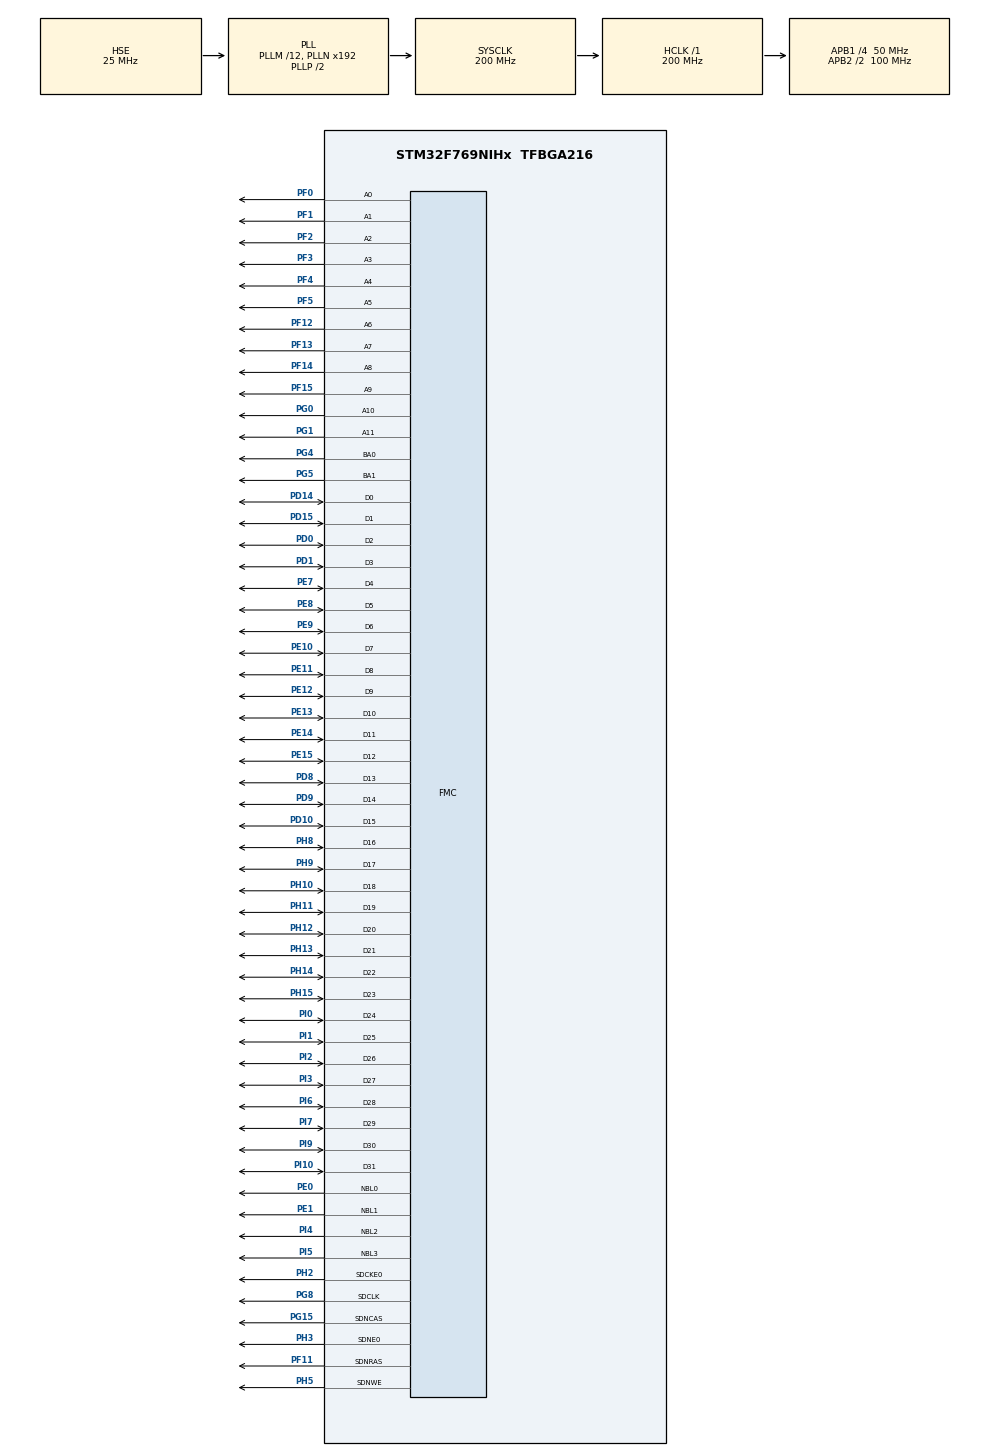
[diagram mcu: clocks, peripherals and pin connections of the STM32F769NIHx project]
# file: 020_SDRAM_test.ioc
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FMC.CASLatency1=FMC_SDRAM_CAS_LATENCY_2
FMC.ExitSelfRefreshDelay1=7
FMC.LoadToActiveDelay1=2
FMC.RCDDelay1=2
FMC.RPDelay1=2
FMC.ReadBurst1=FMC_SDRAM_RBURST_ENABLE
FMC.RowCycleDelay1=6
FMC.SDClockPeriod1=FMC_SDRAM_CLOCK_PERIOD_2
FMC.SelfRefreshTime1=4
FMC.WriteRecoveryTime1=2
Mcu.Family=STM32F7
Mcu.Name=STM32F769NIHx
Mcu.Package=TFBGA216
NVIC.PriorityGroup=NVIC_PRIORITYGROUP_4
PA13.Mode=Trace_Asynchronous_SW
PA13.Signal=SYS_JTMS-SWDIO
PA14.Mode=Trace_Asynchronous_SW
PA14.Signal=SYS_JTCK-SWCLK
PB3.Mode=Trace_Asynchronous_SW
PB3.Signal=SYS_JTDO-SWO
PD0.Signal=FMC_D2_DA2
PD1.Signal=FMC_D3_DA3
PD10.Signal=FMC_D15_DA15
PD14.Signal=FMC_D0_DA0
PD15.Signal=FMC_D1_DA1
PD8.Signal=FMC_D13_DA13
PD9.Signal=FMC_D14_DA14
PE0.Signal=FMC_NBL0
PE1.Signal=FMC_NBL1
PE10.Signal=FMC_D7_DA7
PE11.Signal=FMC_D8_DA8
PE12.Signal=FMC_D9_DA9
PE13.Signal=FMC_D10_DA10
PE14.Signal=FMC_D11_DA11
PE15.Signal=FMC_D12_DA12
PE7.Signal=FMC_D4_DA4
PE8.Signal=FMC_D5_DA5
PE9.Signal=FMC_D6_DA6
PF0.Signal=FMC_A0
PF1.Signal=FMC_A1
PF11.Signal=FMC_SDNRAS
PF12.Signal=FMC_A6
PF13.Signal=FMC_A7
PF14.Signal=FMC_A8
PF15.Signal=FMC_A9
PF2.Signal=FMC_A2
PF3.Signal=FMC_A3
PF4.Signal=FMC_A4
PF5.Signal=FMC_A5
PG0.Signal=FMC_A10
PG1.Signal=FMC_A11
PG15.Signal=FMC_SDNCAS
PG4.Signal=FMC_A14_BA0
PG5.Signal=FMC_A15_BA1
PG8.Signal=FMC_SDCLK
PH0/OSC_IN.Mode=HSE-External-Oscillator
PH0/OSC_IN.Signal=RCC_OSC_IN
PH1/OSC_OUT.Mode=HSE-External-Oscillator
PH1/OSC_OUT.Signal=RCC_OSC_OUT
PH10.Signal=FMC_D18
PH11.Signal=FMC_D19
PH12.Signal=FMC_D20
PH13.Signal=FMC_D21
PH14.Signal=FMC_D22
PH15.Signal=FMC_D23
PH2.Mode=SdramChipSelect1_1
PH2.Signal=FMC_SDCKE0
PH3.Mode=SdramChipSelect1_1
PH3.Signal=FMC_SDNE0
PH5.Signal=FMC_SDNWE
PH8.Signal=FMC_D16
PH9.Signal=FMC_D17
PI0.Signal=FMC_D24
PI1.Signal=FMC_D25
PI10.Signal=FMC_D31
PI2.Signal=FMC_D26
PI3.Signal=FMC_D27
PI4.Signal=FMC_NBL2
PI5.Signal=FMC_NBL3
PI6.Signal=FMC_D28
PI7.Signal=FMC_D29
PI9.Signal=FMC_D30
ProjectManager.HeapSize=0x200
ProjectManager.StackSize=0x400
ProjectManager.TargetToolchain=STM32CubeIDE
RCC.AHBFreq_Value=200000000
RCC.APB1CLKDivider=RCC_HCLK_DIV4
RCC.APB1Freq_Value=50000000
RCC.APB1TimFreq_Value=100000000
RCC.APB2CLKDivider=RCC_HCLK_DIV2
RCC.APB2Freq_Value=100000000
RCC.APB2TimFreq_Value=200000000
RCC.CortexFreq_Value=200000000
RCC.HCLKFreq_Value=200000000
RCC.HSE_VALUE=25000000
RCC.HSI_VALUE=16000000
RCC.LSE_VALUE=32768
RCC.PLLM=12
RCC.PLLSourceVirtual=RCC_PLLSOURCE_HSE
RCC.SYSCLKFreq_VALUE=200000000
RCC.SYSCLKSource=RCC_SYSCLKSOURCE_PLLCLK
RCC.USBFreq_Value=200000000
RCC.VCOOutputFreq_Value=400000000
SH.FMC_A0.0=FMC_A0,12b-sda1
SH.FMC_A1.0=FMC_A1,12b-sda1
SH.FMC_A10.0=FMC_A10,12b-sda1
SH.FMC_A11.0=FMC_A11,12b-sda1
SH.FMC_A14_BA0.0=FMC_BA0,FourSdramBanks1
SH.FMC_A15_BA1.0=FMC_BA1,FourSdramBanks1
SH.FMC_A2.0=FMC_A2,12b-sda1
SH.FMC_A3.0=FMC_A3,12b-sda1
SH.FMC_A4.0=FMC_A4,12b-sda1
SH.FMC_A5.0=FMC_A5,12b-sda1
SH.FMC_A6.0=FMC_A6,12b-sda1
SH.FMC_A7.0=FMC_A7,12b-sda1
SH.FMC_A8.0=FMC_A8,12b-sda1
SH.FMC_A9.0=FMC_A9,12b-sda1
SH.FMC_D0_DA0.0=FMC_D0,sd-32b-d1
SH.FMC_D10_DA10.0=FMC_D10,sd-32b-d1
SH.FMC_D11_DA11.0=FMC_D11,sd-32b-d1
SH.FMC_D12_DA12.0=FMC_D12,sd-32b-d1
SH.FMC_D13_DA13.0=FMC_D13,sd-32b-d1
SH.FMC_D14_DA14.0=FMC_D14,sd-32b-d1
SH.FMC_D15_DA15.0=FMC_D15,sd-32b-d1
SH.FMC_D16.0=FMC_D16,sd-32b-d1
SH.FMC_D17.0=FMC_D17,sd-32b-d1
SH.FMC_D18.0=FMC_D18,sd-32b-d1
SH.FMC_D19.0=FMC_D19,sd-32b-d1
SH.FMC_D1_DA1.0=FMC_D1,sd-32b-d1
SH.FMC_D20.0=FMC_D20,sd-32b-d1
SH.FMC_D21.0=FMC_D21,sd-32b-d1
SH.FMC_D22.0=FMC_D22,sd-32b-d1
SH.FMC_D23.0=FMC_D23,sd-32b-d1
SH.FMC_D24.0=FMC_D24,sd-32b-d1
SH.FMC_D25.0=FMC_D25,sd-32b-d1
SH.FMC_D26.0=FMC_D26,sd-32b-d1
SH.FMC_D27.0=FMC_D27,sd-32b-d1
SH.FMC_D28.0=FMC_D28,sd-32b-d1
SH.FMC_D29.0=FMC_D29,sd-32b-d1
SH.FMC_D2_DA2.0=FMC_D2,sd-32b-d1
SH.FMC_D30.0=FMC_D30,sd-32b-d1
SH.FMC_D31.0=FMC_D31,sd-32b-d1
SH.FMC_D3_DA3.0=FMC_D3,sd-32b-d1
SH.FMC_D4_DA4.0=FMC_D4,sd-32b-d1
SH.FMC_D5_DA5.0=FMC_D5,sd-32b-d1
SH.FMC_D6_DA6.0=FMC_D6,sd-32b-d1
SH.FMC_D7_DA7.0=FMC_D7,sd-32b-d1
SH.FMC_D8_DA8.0=FMC_D8,sd-32b-d1
SH.FMC_D9_DA9.0=FMC_D9,sd-32b-d1
SH.FMC_NBL0.0=FMC_NBL0,Sd4ByteEnable1
SH.FMC_NBL1.0=FMC_NBL1,Sd4ByteEnable1
SH.FMC_NBL2.0=FMC_NBL2,Sd4ByteEnable1
SH.FMC_NBL3.0=FMC_NBL3,Sd4ByteEnable1
SH.FMC_SDCLK.0=FMC_SDCLK,12b-sda1
SH.FMC_SDNCAS.0=FMC_SDNCAS,12b-sda1
SH.FMC_SDNRAS.0=FMC_SDNRAS,12b-sda1
SH.FMC_SDNWE.0=FMC_SDNWE,12b-sda1
board=custom

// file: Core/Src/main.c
/* USER CODE BEGIN Header */
/**
 ******************************************************************************
 * @file           : main.c
 * @brief          : Main program body
 ******************************************************************************
 * @attention
 *
 * Copyright (c) 2023 STMicroelectronics.
 * All rights reserved.
 *
 * This software is licensed under terms that can be found in the LICENSE file
 * in the root directory of this software component.
 * If no LICENSE file comes with this software, it is provided AS-IS.
 *
 ******************************************************************************
 */
/* USER CODE END Header */
#include "main.h"

/* USER CODE BEGIN Includes */
#include "stdlib.h"
/* USER CODE END Includes */

SDRAM_HandleTypeDef hsdram1;

void SystemClock_Config(void);
static void MX_GPIO_Init(void);
static void MX_FMC_Init(void);

int main(void) {

	/* MCU Configuration--------------------------------------------------------*/

	/* Reset of all peripherals, Initializes the Flash interface and the Systick. */
	HAL_Init();

	/* Configure the system clock */
	SystemClock_Config();

	/* Initialize all configured peripherals */
	MX_GPIO_Init();
	MX_FMC_Init();

	/* Infinite loop */
	/* USER CODE BEGIN WHILE */

// 128Mb, 16MB, 8M half Word, 4M Word
#define SDRAM_BANK_ADDR_START 	((uint32_t)0xC0000000)
#define SDRAM_BANK_ADDR_STOP 	((uint32_t)0xC0ffffff)
#define SDRAM_BANK_COUNT		(0x10000)

	struct Test_ERR {
		uint32_t addr_err[0x100];
		uint8_t ram_err[0x100];
		uint8_t sdram_err[0x100];
	};

	volatile uint32_t test_ok = 0; //zmienna w której będzie wynik testu
	struct Test_ERR test_err;

	// uzupełnienie randomem małego bloku na stosie
	uint8_t tab[0x100];
	srand(HAL_GetTick());
	for (int i = 0; i < 0x100; i++) {
		tab[i] = rand() % 0x100;
	}

	// zapełnienie całej sdram powtarzanymi blokami
	for (int j = 0; j < SDRAM_BANK_COUNT; j++)
		for (int i = 0; i < 0x100; i++) {
			*(__IO uint8_t*) (SDRAM_BANK_ADDR_START + (j * 0x100) + (1 * i)) = tab[i];
		}

	// porównanie pamięci
	for (int j = 0; j < SDRAM_BANK_COUNT; j++)
		for (int i = 0; i < 0x100; i++) {
			if ((*(__IO uint8_t*) (SDRAM_BANK_ADDR_START + (j * 0x100) + (1 * i))) != tab[i]) {
				test_err.addr_err[test_ok] = (SDRAM_BANK_ADDR_START + (j * 0x100) + (1 * i));
				test_err.sdram_err[test_ok] = *(__IO uint8_t*) (SDRAM_BANK_ADDR_START + (j * 0x100) + (1 * i));
				test_err.ram_err[test_ok] = tab[i];
				test_ok++;
			}
		}

	while (1) {
		/* USER CODE END WHILE */

	}
}

void SystemClock_Config(void) {
	RCC_OscInitTypeDef RCC_OscInitStruct = { 0 };
	RCC_ClkInitTypeDef RCC_ClkInitStruct = { 0 };

	/** Configure the main internal regulator output voltage
	 */
	__HAL_RCC_PWR_CLK_ENABLE();
	__HAL_PWR_VOLTAGESCALING_CONFIG(PWR_REGULATOR_VOLTAGE_SCALE1);

	/** Initializes the RCC Oscillators according to the specified parameters
	 * in the RCC_OscInitTypeDef structure.
	 */
	RCC_OscInitStruct.OscillatorType = RCC_OSCILLATORTYPE_HSE;
	RCC_OscInitStruct.HSEState = RCC_HSE_ON;
	RCC_OscInitStruct.PLL.PLLState = RCC_PLL_ON;
	RCC_OscInitStruct.PLL.PLLSource = RCC_PLLSOURCE_HSE;
	RCC_OscInitStruct.PLL.PLLM = 12;
	RCC_OscInitStruct.PLL.PLLN = 192;
	RCC_OscInitStruct.PLL.PLLP = RCC_PLLP_DIV2;
	RCC_OscInitStruct.PLL.PLLQ = 2;
	RCC_OscInitStruct.PLL.PLLR = 2;
	if (HAL_RCC_OscConfig(&RCC_OscInitStruct) != HAL_OK) {
		Error_Handler();
	}

	/** Activate the Over-Drive mode
	 */
	if (HAL_PWREx_EnableOverDrive() != HAL_OK) {
		Error_Handler();
	}

	/** Initializes the CPU, AHB and APB buses clocks
	 */
	RCC_ClkInitStruct.ClockType = RCC_CLOCKTYPE_HCLK | RCC_CLOCKTYPE_SYSCLK | RCC_CLOCKTYPE_PCLK1 | RCC_CLOCKTYPE_PCLK2;
	RCC_ClkInitStruct.SYSCLKSource = RCC_SYSCLKSOURCE_PLLCLK;
	RCC_ClkInitStruct.AHBCLKDivider = RCC_SYSCLK_DIV1;
	RCC_ClkInitStruct.APB1CLKDivider = RCC_HCLK_DIV4;
	RCC_ClkInitStruct.APB2CLKDivider = RCC_HCLK_DIV2;

	if (HAL_RCC_ClockConfig(&RCC_ClkInitStruct, FLASH_LATENCY_6) != HAL_OK) {
		Error_Handler();
	}
}

/* FMC initialization function */
static void MX_FMC_Init(void) {

	FMC_SDRAM_TimingTypeDef SdramTiming = { 0 };

	/** Perform the SDRAM1 memory initialization sequence
	 */
	hsdram1.Instance = FMC_SDRAM_DEVICE;
	/* hsdram1.Init */
	hsdram1.Init.SDBank = FMC_SDRAM_BANK1;
	hsdram1.Init.ColumnBitsNumber = FMC_SDRAM_COLUMN_BITS_NUM_8;
	hsdram1.Init.RowBitsNumber = FMC_SDRAM_ROW_BITS_NUM_12;
	hsdram1.Init.MemoryDataWidth = FMC_SDRAM_MEM_BUS_WIDTH_32;
	hsdram1.Init.InternalBankNumber = FMC_SDRAM_INTERN_BANKS_NUM_4;
	hsdram1.Init.CASLatency = FMC_SDRAM_CAS_LATENCY_2;
	hsdram1.Init.WriteProtection = FMC_SDRAM_WRITE_PROTECTION_DISABLE;
	hsdram1.Init.SDClockPeriod = FMC_SDRAM_CLOCK_PERIOD_2;
	hsdram1.Init.ReadBurst = FMC_SDRAM_RBURST_ENABLE;
	hsdram1.Init.ReadPipeDelay = FMC_SDRAM_RPIPE_DELAY_0;
	/* SdramTiming */
	// SDRAM freq 100MHz = 10ns
	SdramTiming.LoadToActiveDelay = 2; //tMRD = 2CLK
	SdramTiming.ExitSelfRefreshDelay = 7; //tXSR = 67ns
	SdramTiming.SelfRefreshTime = 5; //tRAS = 42ns
	SdramTiming.RowCycleDelay = 6; //tRC = 60ns
	SdramTiming.WriteRecoveryTime = 2; //tWR = (1CLK+ 7ns) = 17ns
	SdramTiming.RPDelay = 2; //tRP = 18ns
	SdramTiming.RCDDelay = 2; //tRCD = 18ns

	if (HAL_SDRAM_Init(&hsdram1, &SdramTiming) != HAL_OK) {
		Error_Handler();
	}

	/* USER CODE BEGIN FMC_Init 2 */
// SDRAM freq 100MHz = 10ns
//	SdramTiming.LoadToActiveDelay = 2; //tMRD = 2CLK
//	SdramTiming.ExitSelfRefreshDelay = 7; //tXSR = 67ns
//	SdramTiming.SelfRefreshTime = 5; //tRAS = 42ns
//	SdramTiming.RowCycleDelay = 6; //tRC = 60ns
//	SdramTiming.WriteRecoveryTime = 2; //tWR = (1CLK+ 7ns) = 17ns
//	SdramTiming.RPDelay = 2; //tRP = 18ns
//	SdramTiming.RCDDelay = 2; //tRCD = 18ns
#define SDRAM_MODEREG_BURST_LENGTH_1            	((uint16_t)0x0000)
#define SDRAM_MODEREG_BURST_LENGTH_2            	((uint16_t)0x0001)
#define SDRAM_MODEREG_BURST_LENGTH_4            	((uint16_t)0x0002)
#define SDRAM_MODEREG_BURST_LENGTH_8            	((uint16_t)0x0004)
#define SDRAM_MODEREG_BURST_TYPE_SEQUENTIAL     	((uint16_t)0x0000)
#define SDRAM_MODEREG_BURST_TYPE_INTERLEAVED    	((uint16_t)0x0008)
#define SDRAM_MODEREG_CAS_LATENCY_2             	((uint16_t)0x0020)
#define SDRAM_MODEREG_CAS_LATENCY_3             	((uint16_t)0x0030)
#define SDRAM_MODEREG_OPERATING_MODE_STANDARD   	((uint16_t)0x0000)
#define SDRAM_MODEREG_WRITEBURST_MODE_PROGRAMMED	((uint16_t)0x0000)
#define SDRAM_MODEREG_WRITEBURST_MODE_SINGLE    	((uint16_t)0x0200)
	// SDRAM Initialization Sequence
	FMC_SDRAM_CommandTypeDef cmd = { 0 };
	cmd.CommandTarget = FMC_SDRAM_CMD_TARGET_BANK1;

	cmd.CommandMode = FMC_SDRAM_CMD_CLK_ENABLE;
	HAL_SDRAM_SendCommand(&hsdram1, &cmd, 0x100);
	HAL_Delay(1);

	cmd.CommandMode = FMC_SDRAM_CMD_PALL;
	HAL_SDRAM_SendCommand(&hsdram1, &cmd, 0x100);

	cmd.CommandMode = FMC_SDRAM_CMD_AUTOREFRESH_MODE;
	cmd.AutoRefreshNumber = 8;
	HAL_SDRAM_SendCommand(&hsdram1, &cmd, 0x100);

	cmd.CommandMode = FMC_SDRAM_CMD_LOAD_MODE;
	cmd.ModeRegisterDefinition = //
			SDRAM_MODEREG_BURST_LENGTH_1 |
			SDRAM_MODEREG_BURST_TYPE_SEQUENTIAL |
			SDRAM_MODEREG_CAS_LATENCY_2 |
			SDRAM_MODEREG_OPERATING_MODE_STANDARD |
			SDRAM_MODEREG_WRITEBURST_MODE_SINGLE;
	HAL_SDRAM_SendCommand(&hsdram1, &cmd, 0x100);

	HAL_SDRAM_ProgramRefreshRate(&hsdram1, 1543);
	/* USER CODE END FMC_Init 2 */
}

static void MX_GPIO_Init(void) {

	/* GPIO Ports Clock Enable */
	__HAL_RCC_GPIOE_CLK_ENABLE();
	__HAL_RCC_GPIOB_CLK_ENABLE();
	__HAL_RCC_GPIOA_CLK_ENABLE();
	__HAL_RCC_GPIOG_CLK_ENABLE();
	__HAL_RCC_GPIOD_CLK_ENABLE();
	__HAL_RCC_GPIOI_CLK_ENABLE();
	__HAL_RCC_GPIOF_CLK_ENABLE();
	__HAL_RCC_GPIOH_CLK_ENABLE();

}

void Error_Handler(void) {
	__disable_irq();
	while (1) {
	}
}
